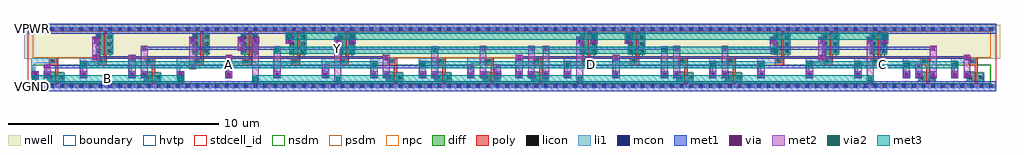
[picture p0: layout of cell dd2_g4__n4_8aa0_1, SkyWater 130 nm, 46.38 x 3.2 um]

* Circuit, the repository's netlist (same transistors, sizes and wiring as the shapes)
* Generated reference circuit; dimensions in micrometers.
.subckt dd2_g4__n4_8aa0_1 A B C D VGND VNB VPB VPWR Y
XM2 _net2 B VGND VNB sky130_fd_pr__nfet_01v8 w=0.420 l=0.150
XM1 _net1 A VPWR VPB sky130_fd_pr__pfet_01v8_hvt w=1.000 l=0.150
XM8 Y _net1 VGND VNB sky130_fd_pr__nfet_01v8 w=0.420 l=0.150
XM3 _net2 B VPWR VPB sky130_fd_pr__pfet_01v8_hvt w=1.000 l=0.150
XM14 Y _net1 _net9 VPB sky130_fd_pr__pfet_01v8_hvt w=1.000 l=0.150
XM19 _net8 _net4 VPWR VPB sky130_fd_pr__pfet_01v8_hvt w=1.000 l=0.150
XM15 _net9 _net2 _net8 VPB sky130_fd_pr__pfet_01v8_hvt w=1.000 l=0.150
XM0 _net1 A VGND VNB sky130_fd_pr__nfet_01v8 w=0.420 l=0.150
XM6 _net4 D VGND VNB sky130_fd_pr__nfet_01v8 w=0.420 l=0.150
XM9 Y _net2 _net6 VNB sky130_fd_pr__nfet_01v8 w=0.420 l=0.150
XM12 Y _net3 _net7 VNB sky130_fd_pr__nfet_01v8 w=0.420 l=0.150
XM17 _net9 D _net8 VPB sky130_fd_pr__pfet_01v8_hvt w=1.000 l=0.150
XM18 _net8 _net3 VPWR VPB sky130_fd_pr__pfet_01v8_hvt w=1.000 l=0.150
XM13 _net7 _net4 VGND VNB sky130_fd_pr__nfet_01v8 w=0.420 l=0.150
XM11 _net5 D VGND VNB sky130_fd_pr__nfet_01v8 w=0.420 l=0.150
XM7 _net4 D VPWR VPB sky130_fd_pr__pfet_01v8_hvt w=1.000 l=0.150
XM5 _net3 C VPWR VPB sky130_fd_pr__pfet_01v8_hvt w=1.000 l=0.150
XM16 _net9 C _net8 VPB sky130_fd_pr__pfet_01v8_hvt w=1.000 l=0.150
XM10 _net6 C _net5 VNB sky130_fd_pr__nfet_01v8 w=0.420 l=0.150
XM4 _net3 C VGND VNB sky130_fd_pr__nfet_01v8 w=0.420 l=0.150
.ends dd2_g4__n4_8aa0_1

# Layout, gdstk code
import gdstk
lib = gdstk.Library(unit=1e-6, precision=1e-09)
def R(c, l, rs):  # rectangles x0, y0, x1, y1
    for r in rs: c.add(gdstk.rectangle(r[:2], r[2:], *l))
def A(c, l, x, y, w, h, nx, ny, dx, dy):  # array of equal rectangles
    R(c, l, [(x+i*dx, y+j*dy, x+i*dx+w, y+j*dy+h) for i in range(nx) for j in range(ny)])
nwell = (64, 20)
diff = (65, 20)
poly = (66, 20)
licon = (66, 44)
li1 = (67, 20)
mcon = (67, 44)
met1 = (68, 20)
via = (68, 44)
met2 = (69, 20)
via2 = (69, 44)
met3 = (70, 20)
hvtp = (78, 44)
stdcell_id = (81, 4)
nsdm = (93, 44)
psdm = (94, 20)
npc = (95, 20)
boundary = (235, 4)

dd2_g4__n4_8aa0_1 = lib.new_cell('dd2_g4__n4_8aa0_1')
R(dd2_g4__n4_8aa0_1, nwell, [(-0.19,1.305,46.19,2.91)])
A(dd2_g4__n4_8aa0_1, diff, 17.05, 0.235, 0.75, 0.42, 4, 1, 2.3, 0)
A(dd2_g4__n4_8aa0_1, diff, 7.85, 1.485, 0.75, 1, 4, 1, 2.3, 0)
A(dd2_g4__n4_8aa0_1, diff, 35.45, 1.485, 0.75, 1, 3, 1, 2.3, 0)
R(dd2_g4__n4_8aa0_1, diff, [(0.95,0.235,1.7,0.655), (5.55,0.235,6.3,0.655), (30.85,0.235,31.6,0.655), (33.15,0.235,33.9,0.655), (42.35,0.235,43.1,0.655), (44.65,0.235,45.4,0.655), (3.25,1.485,4,2.485), (26.25,1.485,27,2.485), (28.55,1.485,29.3,2.485)])
A(dd2_g4__n4_8aa0_1, poly, 17.39, 0.105, 0.15, 1.22, 4, 1, 2.3, 0)
A(dd2_g4__n4_8aa0_1, poly, 1.01, 0.995, 0.43, 0.33, 20, 1, 2.3, 0)
A(dd2_g4__n4_8aa0_1, poly, 8.19, 0.995, 0.15, 1.62, 4, 1, 2.3, 0)
A(dd2_g4__n4_8aa0_1, poly, 35.79, 0.995, 0.15, 1.62, 3, 1, 2.3, 0)
R(dd2_g4__n4_8aa0_1, poly, [(1.29,0.105,1.44,1.325), (5.89,0.105,6.04,1.325), (31.19,0.105,31.34,1.325), (33.49,0.105,33.64,1.325), (42.69,0.105,42.84,1.325), (44.99,0.105,45.14,1.325), (3.59,0.995,3.74,2.615), (26.59,0.995,26.74,2.615), (28.89,0.995,29.04,2.615)])
A(dd2_g4__n4_8aa0_1, licon, 1.09, 1.075, 0.17, 0.17, 20, 1, 2.3, 0)
A(dd2_g4__n4_8aa0_1, licon, 3.29, 1.575, 0.17, 0.17, 1, 3, 0, 0.34)
A(dd2_g4__n4_8aa0_1, licon, 3.79, 1.575, 0.17, 0.17, 1, 3, 0, 0.34)
A(dd2_g4__n4_8aa0_1, licon, 7.89, 1.575, 0.17, 0.17, 1, 3, 0, 0.34)
A(dd2_g4__n4_8aa0_1, licon, 8.39, 1.575, 0.17, 0.17, 1, 3, 0, 0.34)
A(dd2_g4__n4_8aa0_1, licon, 10.19, 1.575, 0.17, 0.17, 1, 3, 0, 0.34)
A(dd2_g4__n4_8aa0_1, licon, 10.69, 1.575, 0.17, 0.17, 1, 3, 0, 0.34)
A(dd2_g4__n4_8aa0_1, licon, 12.49, 1.575, 0.17, 0.17, 1, 3, 0, 0.34)
A(dd2_g4__n4_8aa0_1, licon, 12.99, 1.575, 0.17, 0.17, 1, 3, 0, 0.34)
A(dd2_g4__n4_8aa0_1, licon, 14.79, 1.575, 0.17, 0.17, 1, 3, 0, 0.34)
A(dd2_g4__n4_8aa0_1, licon, 15.29, 1.575, 0.17, 0.17, 1, 3, 0, 0.34)
A(dd2_g4__n4_8aa0_1, licon, 26.29, 1.575, 0.17, 0.17, 1, 3, 0, 0.34)
A(dd2_g4__n4_8aa0_1, licon, 26.79, 1.575, 0.17, 0.17, 1, 3, 0, 0.34)
A(dd2_g4__n4_8aa0_1, licon, 28.59, 1.575, 0.17, 0.17, 1, 3, 0, 0.34)
A(dd2_g4__n4_8aa0_1, licon, 29.09, 1.575, 0.17, 0.17, 1, 3, 0, 0.34)
A(dd2_g4__n4_8aa0_1, licon, 35.49, 1.575, 0.17, 0.17, 1, 3, 0, 0.34)
A(dd2_g4__n4_8aa0_1, licon, 35.99, 1.575, 0.17, 0.17, 1, 3, 0, 0.34)
A(dd2_g4__n4_8aa0_1, licon, 37.79, 1.575, 0.17, 0.17, 1, 3, 0, 0.34)
A(dd2_g4__n4_8aa0_1, licon, 38.29, 1.575, 0.17, 0.17, 1, 3, 0, 0.34)
A(dd2_g4__n4_8aa0_1, licon, 40.09, 1.575, 0.17, 0.17, 1, 3, 0, 0.34)
A(dd2_g4__n4_8aa0_1, licon, 40.59, 1.575, 0.17, 0.17, 1, 3, 0, 0.34)
R(dd2_g4__n4_8aa0_1, licon, [(0.99,0.315,1.16,0.485), (1.49,0.315,1.66,0.485), (5.59,0.315,5.76,0.485), (6.09,0.315,6.26,0.485), (17.09,0.315,17.26,0.485), (17.59,0.315,17.76,0.485), (19.39,0.315,19.56,0.485), (19.89,0.315,20.06,0.485), (21.69,0.315,21.86,0.485), (22.19,0.315,22.36,0.485), (23.99,0.315,24.16,0.485), (24.49,0.315,24.66,0.485), (30.89,0.315,31.06,0.485), (31.39,0.315,31.56,0.485), (33.19,0.315,33.36,0.485), (33.69,0.315,33.86,0.485), (42.39,0.315,42.56,0.485), (42.89,0.315,43.06,0.485), (44.69,0.315,44.86,0.485), (45.19,0.315,45.36,0.485)])
A(dd2_g4__n4_8aa0_1, li1, 0.165, 0.38, 0.17, 0.935, 20, 1, 2.3, 0)
A(dd2_g4__n4_8aa0_1, li1, 7.085, 0.38, 0.33, 0.33, 5, 1, 2.3, 0)
A(dd2_g4__n4_8aa0_1, li1, 16.86, 0.38, 0.48, 0.33, 4, 1, 2.3, 0)
A(dd2_g4__n4_8aa0_1, li1, 25.485, 0.38, 0.33, 0.33, 3, 1, 2.3, 0)
A(dd2_g4__n4_8aa0_1, li1, 34.685, 0.38, 0.33, 0.33, 4, 1, 2.3, 0)
A(dd2_g4__n4_8aa0_1, li1, 0.165, 1.075, 1.175, 0.24, 20, 1, 2.3, 0)
A(dd2_g4__n4_8aa0_1, li1, 3.79, 1.505, 0.17, 1.3, 3, 1, 4.6, 0)
A(dd2_g4__n4_8aa0_1, li1, 7.66, 2.01, 0.48, 0.33, 4, 1, 2.3, 0)
A(dd2_g4__n4_8aa0_1, li1, 35.26, 2.01, 0.33, 0.33, 3, 1, 2.3, 0)
A(dd2_g4__n4_8aa0_1, li1, 35.26, 2.01, 0.48, 0.33, 3, 1, 2.3, 0)
R(dd2_g4__n4_8aa0_1, li1, [(0,-0.085,46,0.085), (1.49,-0.085,1.66,0.635), (6.09,-0.085,6.26,0.635), (17.59,-0.085,17.76,0.635), (19.89,-0.085,20.06,0.635), (31.39,-0.085,31.56,0.635), (33.69,-0.085,33.86,0.635), (45.19,-0.085,45.36,0.635), (0.91,0.255,1.24,0.635), (1.41,0.255,1.74,0.635), (5.51,0.255,5.84,0.635), (6.01,0.255,6.34,0.635), (17.01,0.255,17.34,0.635), (17.51,0.255,17.84,0.635), (19.31,0.255,19.64,0.635), (19.81,0.255,20.14,0.635), (21.61,0.255,21.94,0.635), (22.11,0.255,22.44,0.635), (23.91,0.255,24.24,0.635), (24.41,0.255,24.74,0.635), (30.81,0.255,31.14,0.635), (31.31,0.255,31.64,0.635), (33.11,0.255,33.44,0.635), (33.61,0.255,33.94,0.635), (42.31,0.255,42.64,0.635), (42.81,0.255,43.14,0.635), (44.61,0.255,44.94,0.635), (45.11,0.255,45.44,0.635), (0.185,0.38,0.515,0.71), (0.76,0.38,1.09,0.71), (0.76,0.38,1.24,0.71), (2.485,0.38,2.815,0.71), (4.785,0.38,5.115,0.71), (5.36,0.38,5.69,0.71), (5.36,0.38,5.84,0.71), (16.86,0.38,17.19,0.71), (18.585,0.38,18.915,0.71), (19.16,0.38,19.49,0.71), (20.885,0.38,21.215,0.71), (21.46,0.38,21.79,0.71), (22.11,0.38,22.48,0.71), (22.15,0.38,22.48,0.71), (23.185,0.38,23.515,0.71), (23.76,0.38,24.09,0.71), (24.41,0.38,24.78,0.71), (24.45,0.38,24.78,0.71), (30.66,0.38,30.99,0.71), (30.66,0.38,31.14,0.71), (32.385,0.38,32.715,0.71), (32.96,0.38,33.29,0.71), (32.96,0.38,33.44,0.71), (42.16,0.38,42.49,0.71), (42.16,0.38,42.64,0.71), (42.81,0.38,43.18,0.71), (42.85,0.38,43.18,0.71), (43.885,0.38,44.215,0.71), (44.46,0.38,44.79,0.71), (44.46,0.38,44.94,0.71), (3.21,1.505,3.54,2.465), (3.71,1.505,4.04,2.465), (7.81,1.505,8.14,2.465), (8.31,1.505,8.64,2.465), (10.11,1.505,10.44,2.465), (10.61,1.505,10.94,2.465), (12.41,1.505,12.74,2.465), (12.91,1.505,13.24,2.465), (14.71,1.505,15.04,2.465), (15.21,1.505,15.54,2.465), (26.21,1.505,26.54,2.465), (26.71,1.505,27.04,2.465), (28.51,1.505,28.84,2.465), (29.01,1.505,29.34,2.465), (29.09,1.505,29.26,2.805), (35.41,1.505,35.74,2.465), (35.91,1.505,36.24,2.465), (35.99,1.505,36.16,2.805), (37.71,1.505,38.04,2.465), (38.21,1.505,38.54,2.465), (38.29,1.505,38.46,2.805), (40.01,1.505,40.34,2.465), (40.51,1.505,40.84,2.465), (3.06,2.01,3.39,2.34), (3.06,2.01,3.54,2.34), (7.66,2.01,7.99,2.34), (9.96,2.01,10.29,2.34), (10.61,2.01,10.98,2.34), (10.65,2.01,10.98,2.34), (12.26,2.01,12.59,2.34), (14.56,2.01,14.89,2.34), (15.21,2.01,15.58,2.34), (15.25,2.01,15.58,2.34), (26.06,2.01,26.39,2.34), (26.06,2.01,26.54,2.34), (26.71,2.01,27.08,2.34), (26.75,2.01,27.08,2.34), (28.36,2.01,28.69,2.34), (28.36,2.01,28.84,2.34), (40.51,2.01,40.88,2.34), (40.55,2.01,40.88,2.34), (0,2.635,46,2.805)])
A(dd2_g4__n4_8aa0_1, mcon, 0.145, -0.085, 0.17, 0.17, 100, 2, 0.46, 2.72)
A(dd2_g4__n4_8aa0_1, mcon, 7.165, 0.46, 0.17, 0.17, 5, 1, 2.3, 0)
A(dd2_g4__n4_8aa0_1, mcon, 25.565, 0.46, 0.17, 0.17, 3, 1, 2.3, 0)
A(dd2_g4__n4_8aa0_1, mcon, 34.765, 0.46, 0.17, 0.17, 4, 1, 2.3, 0)
A(dd2_g4__n4_8aa0_1, mcon, 35.34, 2.09, 0.17, 0.17, 3, 1, 2.3, 0)
R(dd2_g4__n4_8aa0_1, mcon, [(0.265,0.46,0.435,0.63), (0.84,0.46,1.01,0.63), (2.565,0.46,2.735,0.63), (4.865,0.46,5.035,0.63), (5.44,0.46,5.61,0.63), (16.94,0.46,17.11,0.63), (18.665,0.46,18.835,0.63), (19.24,0.46,19.41,0.63), (20.965,0.46,21.135,0.63), (21.54,0.46,21.71,0.63), (22.23,0.46,22.4,0.63), (23.265,0.46,23.435,0.63), (23.84,0.46,24.01,0.63), (24.53,0.46,24.7,0.63), (30.74,0.46,30.91,0.63), (32.465,0.46,32.635,0.63), (33.04,0.46,33.21,0.63), (42.24,0.46,42.41,0.63), (42.93,0.46,43.1,0.63), (43.965,0.46,44.135,0.63), (44.54,0.46,44.71,0.63), (3.14,2.09,3.31,2.26), (7.74,2.09,7.91,2.26), (10.04,2.09,10.21,2.26), (10.73,2.09,10.9,2.26), (12.34,2.09,12.51,2.26), (14.64,2.09,14.81,2.26), (15.33,2.09,15.5,2.26), (26.14,2.09,26.31,2.26), (26.83,2.09,27,2.26), (28.44,2.09,28.61,2.26), (40.63,2.09,40.8,2.26)])
A(dd2_g4__n4_8aa0_1, met1, 7.085, 0.38, 0.33, 0.33, 5, 1, 2.3, 0)
A(dd2_g4__n4_8aa0_1, met1, 25.485, 0.38, 0.33, 0.33, 3, 1, 2.3, 0)
A(dd2_g4__n4_8aa0_1, met1, 34.685, 0.38, 0.33, 0.33, 4, 1, 2.3, 0)
A(dd2_g4__n4_8aa0_1, met1, 35.26, 2.01, 0.33, 0.33, 3, 1, 2.3, 0)
R(dd2_g4__n4_8aa0_1, met1, [(0,-0.24,46,0.24), (0.185,0.38,0.515,0.71), (0.76,0.38,1.09,0.71), (2.485,0.38,2.815,0.71), (4.785,0.38,5.115,0.71), (5.36,0.38,5.69,0.71), (16.86,0.38,17.19,0.71), (18.585,0.38,18.915,0.71), (19.16,0.38,19.49,0.71), (20.885,0.38,21.215,0.71), (21.46,0.38,21.79,0.71), (22.15,0.38,22.48,0.71), (23.185,0.38,23.515,0.71), (23.76,0.38,24.09,0.71), (24.45,0.38,24.78,0.71), (30.66,0.38,30.99,0.71), (32.385,0.38,32.715,0.71), (32.96,0.38,33.29,0.71), (42.16,0.38,42.49,0.71), (42.85,0.38,43.18,0.71), (43.885,0.38,44.215,0.71), (44.46,0.38,44.79,0.71), (0.765,0.545,1.085,0.92), (13.99,0.545,14.31,0.92), (20.89,0.545,21.21,0.92), (22.155,0.545,22.475,0.92), (42.165,0.545,42.485,0.92), (0.765,0.79,1.085,1.05), (7.665,0.79,7.985,1.05), (13.99,0.79,14.31,1.05), (20.89,0.79,21.21,1.05), (22.155,0.79,22.475,1.05), (42.165,0.79,42.485,1.05), (0.76,0.85,21.215,0.99), (22.15,0.85,42.49,0.99), (3.065,1.23,3.385,1.49), (4.79,1.23,5.11,1.49), (9.39,1.23,9.71,1.49), (16.865,1.23,17.185,1.49), (23.19,1.23,23.51,1.49), (27.79,1.23,28.11,1.49), (37.565,1.23,37.885,1.49), (44.465,1.23,44.785,1.49), (3.06,1.29,17.19,1.43), (23.185,1.29,44.79,1.43), (5.365,1.67,5.685,1.93), (9.965,1.67,10.285,1.93), (21.465,1.67,21.785,1.93), (23.765,1.67,24.085,1.93), (24.455,1.67,24.775,1.93), (30.665,1.67,30.985,1.93), (32.965,1.67,33.285,1.93), (42.855,1.67,43.175,1.93), (5.36,1.73,24.09,1.87), (24.45,1.73,30.99,1.87), (32.96,1.73,43.18,1.87), (9.965,1.8,10.285,2.175), (3.06,2.01,3.39,2.34), (7.66,2.01,7.99,2.34), (9.96,2.01,10.29,2.34), (10.65,2.01,10.98,2.34), (12.26,2.01,12.59,2.34), (14.56,2.01,14.89,2.34), (15.25,2.01,15.58,2.34), (26.06,2.01,26.39,2.34), (26.75,2.01,27.08,2.34), (28.36,2.01,28.69,2.34), (40.55,2.01,40.88,2.34), (0,2.48,46,2.96)])
A(dd2_g4__n4_8aa0_1, via, 7.175, 0.47, 0.15, 0.15, 5, 1, 2.3, 0)
A(dd2_g4__n4_8aa0_1, via, 25.575, 0.47, 0.15, 0.15, 3, 1, 2.3, 0)
A(dd2_g4__n4_8aa0_1, via, 34.775, 0.47, 0.15, 0.15, 4, 1, 2.3, 0)
A(dd2_g4__n4_8aa0_1, via, 35.35, 2.1, 0.15, 0.15, 3, 1, 2.3, 0)
R(dd2_g4__n4_8aa0_1, via, [(0.275,0.47,0.425,0.62), (0.85,0.47,1,0.62), (2.575,0.47,2.725,0.62), (4.875,0.47,5.025,0.62), (5.45,0.47,5.6,0.62), (16.95,0.47,17.1,0.62), (18.675,0.47,18.825,0.62), (19.25,0.47,19.4,0.62), (20.975,0.47,21.125,0.62), (21.55,0.47,21.7,0.62), (22.24,0.47,22.39,0.62), (23.275,0.47,23.425,0.62), (23.85,0.47,24,0.62), (24.54,0.47,24.69,0.62), (30.75,0.47,30.9,0.62), (32.475,0.47,32.625,0.62), (33.05,0.47,33.2,0.62), (42.25,0.47,42.4,0.62), (42.94,0.47,43.09,0.62), (43.975,0.47,44.125,0.62), (44.55,0.47,44.7,0.62), (0.85,0.845,1,0.995), (7.75,0.845,7.9,0.995), (14.075,0.845,14.225,0.995), (20.975,0.845,21.125,0.995), (22.24,0.845,22.39,0.995), (42.25,0.845,42.4,0.995), (3.15,1.285,3.3,1.435), (4.875,1.285,5.025,1.435), (9.475,1.285,9.625,1.435), (16.95,1.285,17.1,1.435), (23.275,1.285,23.425,1.435), (27.875,1.285,28.025,1.435), (37.65,1.285,37.8,1.435), (44.55,1.285,44.7,1.435), (5.45,1.725,5.6,1.875), (10.05,1.725,10.2,1.875), (21.55,1.725,21.7,1.875), (23.85,1.725,24,1.875), (24.54,1.725,24.69,1.875), (30.75,1.725,30.9,1.875), (33.05,1.725,33.2,1.875), (42.94,1.725,43.09,1.875), (3.15,2.1,3.3,2.25), (7.75,2.1,7.9,2.25), (10.05,2.1,10.2,2.25), (10.74,2.1,10.89,2.25), (12.35,2.1,12.5,2.25), (14.65,2.1,14.8,2.25), (15.34,2.1,15.49,2.25), (26.15,2.1,26.3,2.25), (26.84,2.1,26.99,2.25), (28.45,2.1,28.6,2.25), (40.64,2.1,40.79,2.25)])
A(dd2_g4__n4_8aa0_1, met2, 7.09, 0.415, 0.32, 0.26, 5, 1, 2.3, 0)
A(dd2_g4__n4_8aa0_1, met2, 18.59, 0.415, 0.32, 0.735, 3, 1, 6.9, 0)
A(dd2_g4__n4_8aa0_1, met2, 25.49, 0.415, 0.32, 0.26, 3, 1, 2.3, 0)
A(dd2_g4__n4_8aa0_1, met2, 34.69, 0.415, 0.32, 0.26, 4, 1, 2.3, 0)
A(dd2_g4__n4_8aa0_1, met2, 34.69, 0.415, 0.32, 0.735, 5, 1, 2.3, 0)
A(dd2_g4__n4_8aa0_1, met2, 18.61, 0.835, 0.28, 0.37, 3, 1, 6.9, 0)
A(dd2_g4__n4_8aa0_1, met2, 34.71, 0.835, 0.28, 0.37, 5, 1, 2.3, 0)
A(dd2_g4__n4_8aa0_1, met2, 35.265, 2.045, 0.32, 0.26, 3, 1, 2.3, 0)
R(dd2_g4__n4_8aa0_1, met2, [(0.21,0.155,0.49,0.525), (7.11,0.155,7.39,0.525), (10.675,0.155,10.955,0.525), (14.585,0.155,14.865,0.525), (26.085,0.155,26.365,0.525), (39.885,0.155,40.165,0.525), (0.19,0.21,0.51,0.675), (7.09,0.21,7.41,0.675), (10.655,0.21,10.975,2.305), (14.565,0.21,14.885,2.305), (26.065,0.21,26.385,2.305), (39.865,0.21,40.185,2.305), (0.19,0.415,0.51,0.675), (0.765,0.415,1.085,0.675), (0.765,0.415,1.085,1.05), (2.49,0.415,2.81,0.675), (2.49,0.415,2.81,1.15), (4.79,0.415,5.11,0.675), (4.79,0.415,5.11,1.49), (5.365,0.415,5.685,0.675), (5.365,0.415,5.685,1.93), (9.39,0.415,9.71,1.49), (11.69,0.415,12.01,1.83), (13.99,0.415,14.31,1.05), (16.29,0.415,16.61,1.15), (16.865,0.415,17.185,0.675), (16.865,0.415,17.185,1.49), (18.59,0.415,18.91,0.675), (19.165,0.415,19.485,0.675), (19.165,0.415,19.485,1.83), (20.89,0.415,21.21,0.675), (20.89,0.415,21.21,1.05), (21.465,0.415,21.785,0.675), (21.465,0.415,21.785,1.93), (22.155,0.415,22.475,0.675), (22.155,0.415,22.475,1.05), (23.19,0.415,23.51,0.675), (23.19,0.415,23.51,1.49), (23.765,0.415,24.085,0.675), (23.765,0.415,24.085,1.93), (24.455,0.415,24.775,0.675), (24.455,0.415,24.775,1.93), (27.79,0.415,28.11,1.49), (30.09,0.415,30.41,1.83), (30.665,0.415,30.985,0.675), (30.665,0.415,30.985,1.93), (32.39,0.415,32.71,0.675), (32.965,0.415,33.285,0.675), (32.965,0.415,33.285,1.93), (42.165,0.415,42.485,0.675), (42.165,0.415,42.485,1.05), (42.855,0.415,43.175,0.675), (42.855,0.415,43.175,1.93), (43.89,0.415,44.21,0.675), (44.465,0.415,44.785,0.675), (44.465,0.415,44.785,1.49), (0.765,0.79,1.085,1.05), (7.665,0.79,7.985,1.05), (7.665,0.79,7.985,2.305), (13.99,0.79,14.31,1.05), (20.89,0.79,21.21,1.05), (22.155,0.79,22.475,1.05), (42.165,0.79,42.485,1.05), (2.51,0.835,2.79,1.205), (16.31,0.835,16.59,1.205), (3.065,1.23,3.385,1.49), (3.065,1.23,3.385,2.305), (4.79,1.23,5.11,1.49), (9.39,1.23,9.71,1.49), (16.865,1.23,17.185,1.49), (23.19,1.23,23.51,1.49), (27.79,1.23,28.11,1.49), (37.565,1.23,37.885,1.49), (37.565,1.23,37.885,2.305), (44.465,1.23,44.785,1.49), (11.71,1.515,11.99,1.885), (19.185,1.515,19.465,1.885), (30.11,1.515,30.39,1.885), (35.285,1.515,35.565,1.885), (35.265,1.57,35.585,2.305), (5.365,1.67,5.685,1.93), (9.965,1.67,10.285,1.93), (9.965,1.67,10.285,2.305), (21.465,1.67,21.785,1.93), (23.765,1.67,24.085,1.93), (24.455,1.67,24.775,1.93), (30.665,1.67,30.985,1.93), (32.965,1.67,33.285,1.93), (42.855,1.67,43.175,1.93), (3.065,2.045,3.385,2.305), (7.665,2.045,7.985,2.305), (9.965,2.045,10.285,2.305), (10.655,2.045,10.975,2.305), (12.265,2.045,12.585,2.305), (12.265,2.045,12.585,2.51), (14.565,2.045,14.885,2.305), (15.255,2.045,15.575,2.305), (15.255,2.045,15.575,2.51), (26.065,2.045,26.385,2.305), (26.755,2.045,27.075,2.305), (26.755,2.045,27.075,2.51), (28.365,2.045,28.685,2.305), (28.365,2.045,28.685,2.51), (40.555,2.045,40.875,2.305), (40.555,2.045,40.875,2.51), (12.285,2.195,12.565,2.565), (15.275,2.195,15.555,2.565), (26.775,2.195,27.055,2.565), (28.385,2.195,28.665,2.565), (40.575,2.195,40.855,2.565)])
A(dd2_g4__n4_8aa0_1, via2, 18.65, 0.92, 0.2, 0.2, 3, 1, 6.9, 0)
A(dd2_g4__n4_8aa0_1, via2, 34.75, 0.92, 0.2, 0.2, 5, 1, 2.3, 0)
R(dd2_g4__n4_8aa0_1, via2, [(0.25,0.24,0.45,0.44), (7.15,0.24,7.35,0.44), (10.715,0.24,10.915,0.44), (14.625,0.24,14.825,0.44), (26.125,0.24,26.325,0.44), (39.925,0.24,40.125,0.44), (2.55,0.92,2.75,1.12), (16.35,0.92,16.55,1.12), (11.75,1.6,11.95,1.8), (19.225,1.6,19.425,1.8), (30.15,1.6,30.35,1.8), (35.325,1.6,35.525,1.8), (12.325,2.28,12.525,2.48), (15.315,2.28,15.515,2.48), (26.815,2.28,27.015,2.48), (28.425,2.28,28.625,2.48), (40.615,2.28,40.815,2.48)])
A(dd2_g4__n4_8aa0_1, met3, 18.585, 0.855, 0.33, 0.33, 3, 1, 6.9, 0)
A(dd2_g4__n4_8aa0_1, met3, 34.685, 0.855, 0.33, 0.33, 5, 1, 2.3, 0)
R(dd2_g4__n4_8aa0_1, met3, [(0.185,0.175,7.415,0.505), (0.185,0.175,0.515,0.505), (7.085,0.175,7.415,0.505), (10.65,0.175,40.19,0.505), (10.65,0.175,10.98,0.505), (14.56,0.175,14.89,0.505), (26.06,0.175,26.39,0.505), (39.86,0.175,40.19,0.505), (2.485,0.855,16.615,1.185), (2.485,0.855,2.815,1.185), (16.285,0.855,16.615,1.185), (18.585,0.855,35.015,1.185), (36.985,0.855,44.215,1.185), (11.685,1.535,35.59,1.865), (11.685,1.535,12.015,1.865), (19.16,1.535,19.49,1.865), (30.085,1.535,30.415,1.865), (35.26,1.535,35.59,1.865), (12.26,2.215,40.88,2.545), (12.26,2.215,12.59,2.545), (15.25,2.215,15.58,2.545), (26.75,2.215,27.08,2.545), (28.36,2.215,28.69,2.545), (40.55,2.215,40.88,2.545)])
A(dd2_g4__n4_8aa0_1, hvtp, 8.01, 1.305, 0.51, 1.36, 4, 1, 2.3, 0)
A(dd2_g4__n4_8aa0_1, hvtp, 35.61, 1.305, 0.51, 1.36, 3, 1, 2.3, 0)
R(dd2_g4__n4_8aa0_1, hvtp, [(3.41,1.305,3.92,2.665), (26.41,1.305,26.92,2.665), (28.71,1.305,29.22,2.665)])
R(dd2_g4__n4_8aa0_1, stdcell_id, [(0,0,46,2.72)])
R(dd2_g4__n4_8aa0_1, nsdm, [(0.215,0.11,45.755,1.01)])
R(dd2_g4__n4_8aa0_1, psdm, [(0.215,1.36,45.755,2.61)])
A(dd2_g4__n4_8aa0_1, npc, 0.99, 0.975, 0.37, 0.37, 20, 1, 2.3, 0)
R(dd2_g4__n4_8aa0_1, boundary, [(0,0,46,2.72)])
dd2_g4__n4_8aa0_1.add(gdstk.Label('VGND', (0.23,0), layer=68, texttype=5))
dd2_g4__n4_8aa0_1.add(gdstk.Label('VPWR', (0.23,2.72), layer=68, texttype=5))
dd2_g4__n4_8aa0_1.add(gdstk.Label('Y', (14.725,1.8), layer=68, texttype=5))
dd2_g4__n4_8aa0_1.add(gdstk.Label('VPB', (0.23,2.72), layer=64, texttype=5))
dd2_g4__n4_8aa0_1.add(gdstk.Label('VNB', (0.23,0), layer=64, texttype=59))
dd2_g4__n4_8aa0_1.add(gdstk.Label('B', (3.8,0.34), layer=70, texttype=5))
dd2_g4__n4_8aa0_1.add(gdstk.Label('A', (9.55,1.02), layer=70, texttype=5))
dd2_g4__n4_8aa0_1.add(gdstk.Label('D', (26.8,1.02), layer=70, texttype=5))
dd2_g4__n4_8aa0_1.add(gdstk.Label('C', (40.6,1.02), layer=70, texttype=5))

lib.write_gds('dd2_g4__n4_8aa0_1.gds')
